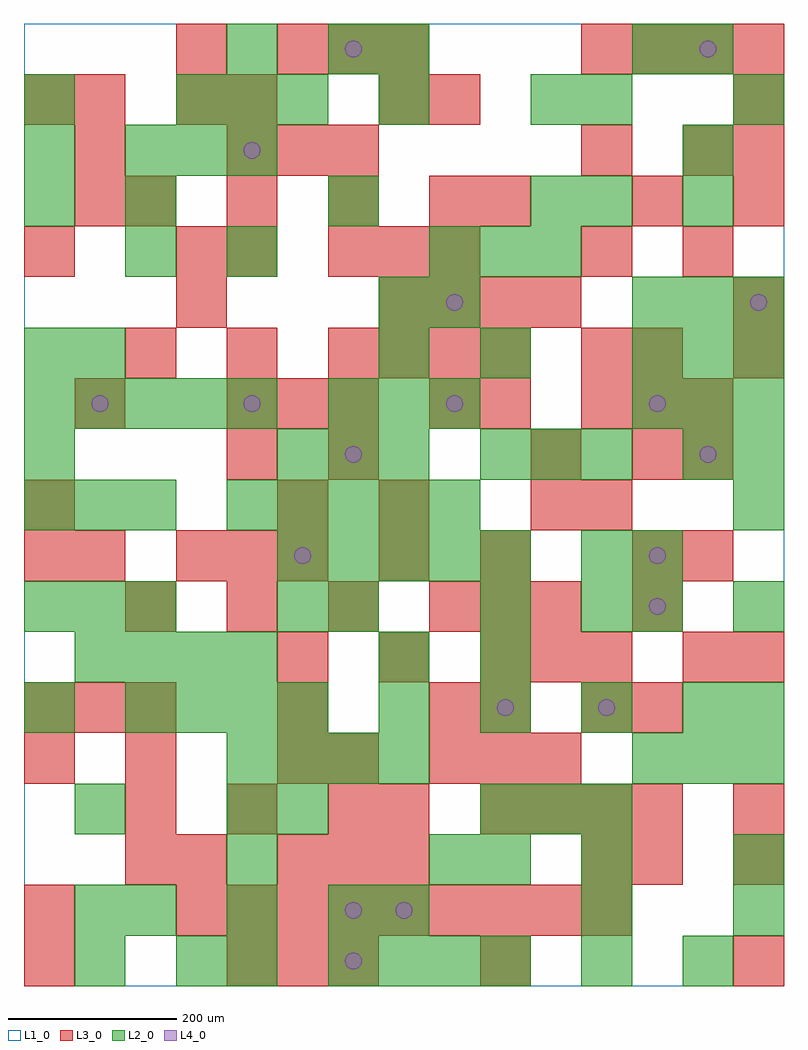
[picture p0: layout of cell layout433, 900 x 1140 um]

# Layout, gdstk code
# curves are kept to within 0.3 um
import gdstk
lib = gdstk.Library(unit=1e-6, precision=1e-09)
def R(c, l, rs):  # rectangles x0, y0, x1, y1
    for r in rs: c.add(gdstk.rectangle(r[:2], r[2:], *l))
def A(c, l, x, y, w, h, nx, ny, dx, dy):  # array of equal rectangles
    R(c, l, [(x+i*dx, y+j*dy, x+i*dx+w, y+j*dy+h) for i in range(nx) for j in range(ny)])
def P(c, l, *ps):  # polygons
    for p in ps: c.add(gdstk.Polygon(p, *l))
L1_0 = (1, 0)
L2_0 = (2, 0)
L3_0 = (3, 0)
L4_0 = (4, 0)

layout433 = lib.new_cell('layout433')
R(layout433, L1_0, [(0,0,900,1140)])
A(layout433, L2_0, 360, 0, 60, 60, 4, 1, 60, 0)
A(layout433, L2_0, 660, 0, 60, 60, 1, 3, 0, 60)
A(layout433, L2_0, 120, 60, 60, 60, 3, 1, 120, 0)
A(layout433, L2_0, 540, 180, 60, 60, 3, 2, 60, 420)
A(layout433, L2_0, 240, 240, 60, 60, 4, 1, 60, 0)
A(layout433, L2_0, 720, 240, 60, 60, 3, 2, 60, 420)
A(layout433, L2_0, 120, 300, 60, 60, 4, 1, 60, 0)
A(layout433, L2_0, 420, 300, 60, 60, 4, 1, 120, 0)
A(layout433, L2_0, 840, 300, 60, 60, 1, 3, 0, 120)
A(layout433, L2_0, 60, 360, 60, 60, 4, 1, 60, 0)
A(layout433, L2_0, 0, 420, 60, 60, 3, 2, 60, 120)
A(layout433, L2_0, 300, 480, 60, 60, 5, 1, 60, 0)
A(layout433, L2_0, 240, 540, 60, 60, 5, 1, 60, 0)
A(layout433, L2_0, 300, 600, 60, 60, 3, 1, 60, 0)
A(layout433, L2_0, 0, 660, 60, 60, 5, 1, 60, 0)
A(layout433, L2_0, 360, 660, 60, 60, 3, 1, 60, 0)
A(layout433, L2_0, 720, 720, 60, 60, 3, 2, 60, 60)
A(layout433, L2_0, 480, 840, 60, 60, 3, 1, 60, 0)
A(layout433, L2_0, 0, 900, 60, 60, 1, 3, 0, 60)
A(layout433, L2_0, 120, 900, 60, 60, 3, 1, 240, 0)
A(layout433, L2_0, 120, 960, 60, 60, 3, 1, 60, 0)
A(layout433, L2_0, 180, 1020, 60, 60, 3, 1, 60, 0)
R(layout433, L2_0, [(60,0,120,60), (180,0,240,60), (240,0,300,60), (780,0,840,60), (60,60,120,120), (420,60,480,120), (840,60,900,120), (240,120,300,180), (480,120,540,180), (540,120,600,180), (840,120,900,180), (60,180,120,240), (240,180,300,240), (300,180,360,240), (0,300,60,360), (420,360,480,420), (540,360,600,420), (300,420,360,480), (360,420,420,480), (540,420,600,480), (660,420,720,480), (720,420,780,480), (660,480,720,540), (720,480,780,540), (0,600,60,660), (780,600,840,660), (840,600,900,660), (0,720,60,780), (60,720,120,780), (420,720,480,780), (540,720,600,780), (420,780,480,840), (480,780,540,840), (120,840,180,900), (240,840,300,900), (660,900,720,960), (780,900,840,960), (780,960,840,1020), (420,1020,480,1080), (600,1020,660,1080), (660,1020,720,1080), (840,1020,900,1080), (240,1080,300,1140), (360,1080,420,1140), (420,1080,480,1140), (720,1080,780,1140), (780,1080,840,1140)])
A(layout433, L3_0, 240, 0, 60, 60, 3, 2, 60, 660)
A(layout433, L3_0, 180, 60, 60, 60, 9, 1, 60, 0)
A(layout433, L3_0, 300, 120, 60, 60, 3, 2, 60, 960)
A(layout433, L3_0, 120, 180, 60, 60, 3, 2, 120, 540)
A(layout433, L3_0, 540, 180, 60, 60, 4, 1, 60, 0)
A(layout433, L3_0, 480, 240, 60, 60, 3, 1, 60, 0)
A(layout433, L3_0, 0, 300, 60, 60, 3, 1, 60, 0)
A(layout433, L3_0, 480, 300, 60, 60, 1, 3, 0, 360)
A(layout433, L3_0, 300, 360, 60, 60, 3, 1, 120, 0)
A(layout433, L3_0, 660, 360, 60, 60, 1, 3, 0, 180)
A(layout433, L3_0, 780, 360, 60, 60, 1, 3, 0, 120)
A(layout433, L3_0, 120, 420, 60, 60, 4, 2, 120, 480)
A(layout433, L3_0, 180, 480, 60, 60, 3, 1, 60, 0)
A(layout433, L3_0, 720, 480, 60, 60, 1, 3, 0, 120)
A(layout433, L3_0, 660, 660, 60, 60, 3, 1, 60, 0)
A(layout433, L3_0, 420, 720, 60, 60, 3, 1, 60, 0)
A(layout433, L3_0, 420, 780, 60, 60, 4, 1, 60, 0)
A(layout433, L3_0, 360, 840, 60, 60, 3, 1, 60, 0)
A(layout433, L3_0, 60, 900, 60, 60, 1, 3, 0, 60)
A(layout433, L3_0, 840, 900, 60, 60, 1, 3, 0, 60)
A(layout433, L3_0, 240, 960, 60, 60, 3, 1, 60, 0)
A(layout433, L3_0, 660, 1080, 60, 60, 4, 1, 60, 0)
R(layout433, L3_0, [(0,0,60,60), (540,0,600,60), (840,0,900,60), (0,60,60,120), (120,120,180,180), (180,120,240,180), (660,120,720,180), (720,120,780,180), (840,120,900,180), (420,180,480,240), (840,180,900,240), (0,240,60,300), (120,240,180,300), (300,240,360,300), (360,240,420,300), (300,300,360,360), (540,300,600,360), (660,300,720,360), (720,300,780,360), (600,360,660,420), (840,360,900,420), (540,420,600,480), (600,420,660,480), (720,420,780,480), (0,480,60,540), (60,480,120,540), (420,480,480,540), (540,480,600,540), (0,540,60,600), (300,540,360,600), (420,540,480,600), (600,540,660,600), (240,600,300,660), (360,600,420,660), (600,600,660,660), (60,660,120,720), (540,660,600,720), (840,720,900,780), (180,780,240,840), (840,780,900,840), (0,840,60,900), (180,840,240,900), (240,840,300,900), (660,840,720,900), (780,840,840,900), (540,900,600,960), (720,900,780,960), (660,960,720,1020), (780,960,840,1020), (0,1020,60,1080), (180,1020,240,1080), (240,1020,300,1080), (420,1020,480,1080), (180,1080,240,1140)])
P(layout433, L4_0, [(100,690),(99.239,693.827),(97.071,697.071),(93.827,699.239),(90,700),(86.173,699.239),(82.929,697.071),(80.761,693.827),(80,690),(80.761,686.173),(82.929,682.929),(86.173,680.761),(90,680),(93.827,680.761),(97.071,682.929),(99.239,686.173)],
  [(280,690),(279.239,693.827),(277.071,697.071),(273.827,699.239),(270,700),(266.173,699.239),(262.929,697.071),(260.761,693.827),(260,690),(260.761,686.173),(262.929,682.929),(266.173,680.761),(270,680),(273.827,680.761),(277.071,682.929),(279.239,686.173)],
  [(280,990),(279.239,993.827),(277.071,997.071),(273.827,999.239),(270,1000),(266.173,999.239),(262.929,997.071),(260.761,993.827),(260,990),(260.761,986.173),(262.929,982.929),(266.173,980.761),(270,980),(273.827,980.761),(277.071,982.929),(279.239,986.173)],
  [(340,510),(339.239,513.827),(337.071,517.071),(333.827,519.239),(330,520),(326.173,519.239),(322.929,517.071),(320.761,513.827),(320,510),(320.761,506.173),(322.929,502.929),(326.173,500.761),(330,500),(333.827,500.761),(337.071,502.929),(339.239,506.173)],
  [(400,30),(399.239,33.827),(397.071,37.071),(393.827,39.239),(390,40),(386.173,39.239),(382.929,37.071),(380.761,33.827),(380,30),(380.761,26.173),(382.929,22.929),(386.173,20.761),(390,20),(393.827,20.761),(397.071,22.929),(399.239,26.173)],
  [(400,90),(399.239,93.827),(397.071,97.071),(393.827,99.239),(390,100),(386.173,99.239),(382.929,97.071),(380.761,93.827),(380,90),(380.761,86.173),(382.929,82.929),(386.173,80.761),(390,80),(393.827,80.761),(397.071,82.929),(399.239,86.173)],
  [(400,630),(399.239,633.827),(397.071,637.071),(393.827,639.239),(390,640),(386.173,639.239),(382.929,637.071),(380.761,633.827),(380,630),(380.761,626.173),(382.929,622.929),(386.173,620.761),(390,620),(393.827,620.761),(397.071,622.929),(399.239,626.173)],
  [(400,1110),(399.239,1113.827),(397.071,1117.071),(393.827,1119.239),(390,1120),(386.173,1119.239),(382.929,1117.071),(380.761,1113.827),(380,1110),(380.761,1106.173),(382.929,1102.929),(386.173,1100.761),(390,1100),(393.827,1100.761),(397.071,1102.929),(399.239,1106.173)],
  [(460,90),(459.239,93.827),(457.071,97.071),(453.827,99.239),(450,100),(446.173,99.239),(442.929,97.071),(440.761,93.827),(440,90),(440.761,86.173),(442.929,82.929),(446.173,80.761),(450,80),(453.827,80.761),(457.071,82.929),(459.239,86.173)],
  [(520,690),(519.239,693.827),(517.071,697.071),(513.827,699.239),(510,700),(506.173,699.239),(502.929,697.071),(500.761,693.827),(500,690),(500.761,686.173),(502.929,682.929),(506.173,680.761),(510,680),(513.827,680.761),(517.071,682.929),(519.239,686.173)],
  [(520,810),(519.239,813.827),(517.071,817.071),(513.827,819.239),(510,820),(506.173,819.239),(502.929,817.071),(500.761,813.827),(500,810),(500.761,806.173),(502.929,802.929),(506.173,800.761),(510,800),(513.827,800.761),(517.071,802.929),(519.239,806.173)],
  [(580,330),(579.239,333.827),(577.071,337.071),(573.827,339.239),(570,340),(566.173,339.239),(562.929,337.071),(560.761,333.827),(560,330),(560.761,326.173),(562.929,322.929),(566.173,320.761),(570,320),(573.827,320.761),(577.071,322.929),(579.239,326.173)],
  [(700,330),(699.239,333.827),(697.071,337.071),(693.827,339.239),(690,340),(686.173,339.239),(682.929,337.071),(680.761,333.827),(680,330),(680.761,326.173),(682.929,322.929),(686.173,320.761),(690,320),(693.827,320.761),(697.071,322.929),(699.239,326.173)],
  [(760,450),(759.239,453.827),(757.071,457.071),(753.827,459.239),(750,460),(746.173,459.239),(742.929,457.071),(740.761,453.827),(740,450),(740.761,446.173),(742.929,442.929),(746.173,440.761),(750,440),(753.827,440.761),(757.071,442.929),(759.239,446.173)],
  [(760,510),(759.239,513.827),(757.071,517.071),(753.827,519.239),(750,520),(746.173,519.239),(742.929,517.071),(740.761,513.827),(740,510),(740.761,506.173),(742.929,502.929),(746.173,500.761),(750,500),(753.827,500.761),(757.071,502.929),(759.239,506.173)],
  [(760,690),(759.239,693.827),(757.071,697.071),(753.827,699.239),(750,700),(746.173,699.239),(742.929,697.071),(740.761,693.827),(740,690),(740.761,686.173),(742.929,682.929),(746.173,680.761),(750,680),(753.827,680.761),(757.071,682.929),(759.239,686.173)],
  [(820,630),(819.239,633.827),(817.071,637.071),(813.827,639.239),(810,640),(806.173,639.239),(802.929,637.071),(800.761,633.827),(800,630),(800.761,626.173),(802.929,622.929),(806.173,620.761),(810,620),(813.827,620.761),(817.071,622.929),(819.239,626.173)],
  [(820,1110),(819.239,1113.827),(817.071,1117.071),(813.827,1119.239),(810,1120),(806.173,1119.239),(802.929,1117.071),(800.761,1113.827),(800,1110),(800.761,1106.173),(802.929,1102.929),(806.173,1100.761),(810,1100),(813.827,1100.761),(817.071,1102.929),(819.239,1106.173)],
  [(880,810),(879.239,813.827),(877.071,817.071),(873.827,819.239),(870,820),(866.173,819.239),(862.929,817.071),(860.761,813.827),(860,810),(860.761,806.173),(862.929,802.929),(866.173,800.761),(870,800),(873.827,800.761),(877.071,802.929),(879.239,806.173)])

lib.write_gds('layout433.gds')
